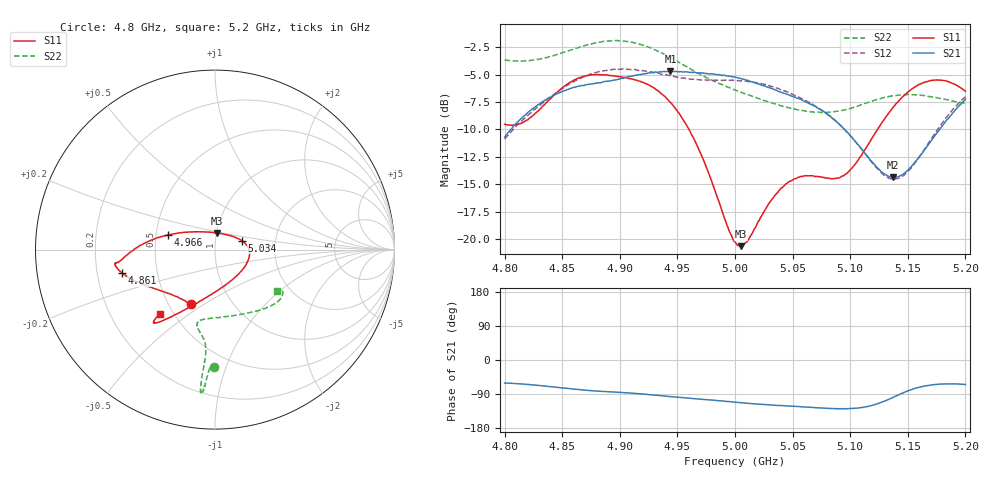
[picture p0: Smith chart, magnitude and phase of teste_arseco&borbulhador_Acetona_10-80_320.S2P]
! Network Analyzer HP8722D
! Hewlett-Packard
! Data name: Linha & Wilkinson
! Saver's name: Rodrigo Anjos
! Comments: Teste da utilização de aquisição
! continua pelo VNA HP8722D
! Time and date: 17/4/2025 17:01
!  Frequency  S11  S21  S12  S22
# HZ  S  MA R 50
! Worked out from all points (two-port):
!   401 points, 4.8 GHz to 5.2 GHz, reference 50 ohm
!   highest |S21| = -4.70 dB at 4.944 GHz (marker M1); lowest = -14.4 dB at 5.137 GHz (marker M2)
!   |S21| within 3 dB of the highest: 4.83 GHz to 5.066 GHz (236 MHz wide, 4.77 % of centre); 5.195721 GHz to end of sweep
!   lowest |S11| = -20.6 dB at 5.005 GHz (marker M3), VSWR 1.20, Z = 50.5 + j9.37 ohm
!   |S11| at or under -10 dB: 4.96 GHz to 5.124 GHz (163.6 MHz wide, 3.24 % of centre)
!   |S22| runs from -8.5 to -1.9 dB; largest |S21 - S12| = 0.87
!   S11 on the Smith chart (normalised r, x): 4.8 GHz: 0.64, -0.44; 4.861 GHz: 0.31, -0.11; 4.966 GHz: 0.58, +0.10; 5.034 GHz: 1.34, +0.14; 5.2 GHz: 0.42, -0.39
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4.8e9  0.334 -113.8  0.2922 -60.8  0.2866 -175.1  0.6557 -90.3
4.819e9  0.3481 -133.8  0.3731 -64.3  0.362 -173.9  0.6509 -91.7
4.861e9  0.5337 -165.7  0.4926 -77.4  0.526 -177.0  0.7393 -94.0
4.867e9  0.5493 -168.1  0.5017 -78.9  0.5441 -178.0  0.7553 -94.1
4.899e9  0.5517 -172.5  0.5358 -85.3  0.5949 175.2  0.8017 -95.5
4.934e9  0.4713 -178.3  0.577 -93.9  0.572 171.7  0.7143 -95.9
4.944e9  0.4201 177.1  0.5818 -96.4  0.5548 171.7  0.6738 -95.6
4.966e9  0.2746 162.6  0.5735 -102.3  0.5338 173.6  0.5786 -95.1
5e9  0.09708 100.1  0.547 -111.3  0.5299 176.0  0.4788 -99.2
5.005e9  0.09296 81.8  0.5392 -112.7  0.5261 175.8  0.4669 -100.3
5.012e9  0.1002 58.3  0.5262 -114.5  0.5217 175.8  0.4546 -101.7
5.034e9  0.1566 18.7  0.4801 -119.3  0.4919 174.7  0.4146 -103.5
5.049e9  0.1847 3.7  0.4489 -121.7  0.4603 174.0  0.3949 -99.8
5.067e9  0.1944 -15.7  0.41 -125.1  0.4136 173.4  0.38 -90.4
5.086e9  0.1888 -46.0  0.3523 -128.4  0.3506 173.8  0.3806 -75.9
5.097e9  0.199 -68.2  0.3082 -128.5  0.3091 174.7  0.3909 -67.0
5.134e9  0.3794 -117.1  0.1929 -103.1  0.1894 -156.1  0.4474 -43.0
5.137e9  0.3972 -118.9  0.1914 -99.0  0.1882 -151.3  0.4504 -41.7
5.15e9  0.4676 -124.7  0.2062 -81.6  0.2035 -131.4  0.4559 -36.8
5.168e9  0.5252 -129.0  0.2705 -67.1  0.2746 -113.4  0.447 -32.4
5.184e9  0.5245 -130.5  0.3503 -63.1  0.3617 -107.3  0.4326 -31.2
5.2e9  0.4723 -130.8  0.4338 -64.7  0.4463 -106.7  0.4152 -33.5
